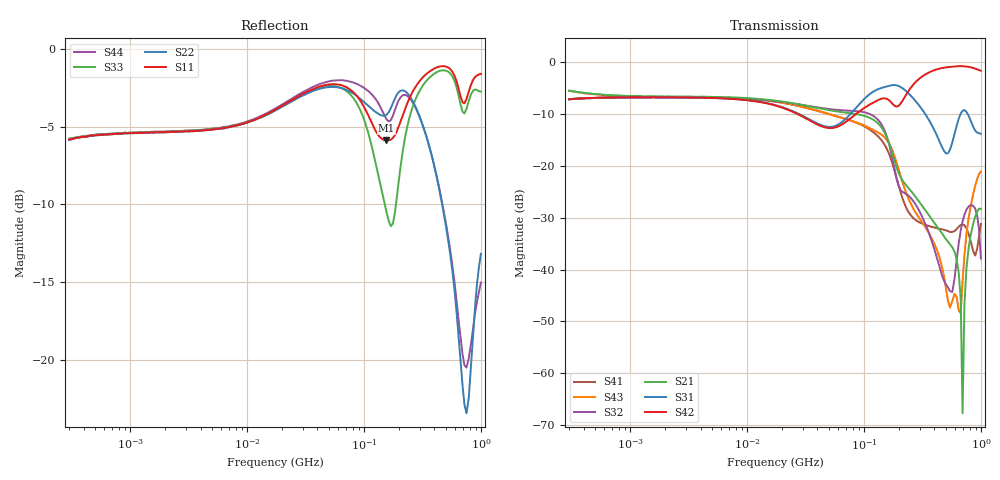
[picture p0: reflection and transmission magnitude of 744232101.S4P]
! This data is being provided by Wuerth Elektronik eiSos GmbH & Co. KG to the industry for analysis.
! Document information:
! Version:rev19a Date: 18/10/2019
! Component information:
! Match Code: IndCNSW P/N: 744232101 Size: 1206
! Disclaimer:  While Würth Elektronik eiSos has made every reasonable effort to ensure the accuracy
! of the information provided, Würth Elektronik eiSos does not guarantee the exemption of error on the
! data collection measurements, nor does Würth Elektronik eiSos guarantee that the information is current.
! Würth Elektronik eiSos reserves the right to make any adjustments at any time without notice.
! Würth Elektronik eiSos expressly disclaims all implied warranties regarding this measurement data collection.
! Note 1  This data measurement is representative according to the product implementation into the fixture.
! Component behavior is sensitive to implementation into the fixture, which includes board
! materials, trace geometry information, connector pin out, layer connection, use of de-embedding
! techniques, etc.
! Note 2 - The fixture was designed specifically to match the 50 Ohm line impedance, as well as the connector impedance,
! in order to accomplish a reliable measurement without reflections in the trace. Any other implementation of the fixture will change the obtained
! measurement performance. The used fixture behavior was de-embedded to accomplish reliable measurement results.
! The test setup consisted of the following:
!  - Agilent VNA E5071C or E5071B
!  - Calibrations are SOLT (short open load thru)
!  - De-embedding of the SMA's or line cards were included
!  - Equipment Settings -
!  - Sampling - 201 points
!  - IF BW  70 kHz
!  - Averaging  Not used
!  Port 1----->|1|  |2| -----> Port 3
!  |  DUT  |
!  Port 2----->|3|  |4| -----> Port 4
!*VNA Port --> |Port in Datasheet|
! |Port in Datasheet| --> VNA Port
! For further information regarding this testing, please contact
! Wuerth Elektronik eiSos
! Contact  Product Management eiSos Hotline
! Email  eisos.pmhotline@we-online.de
# Hz S dB R 50
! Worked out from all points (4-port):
!   201 points, 300 kHz to 1 GHz, reference 50 ohm
!   strongest paths, dB at 300 kHz, 2.299 MHz, 17.55 MHz, 132.6 MHz, 1 GHz:
!     S42: -7.2, -6.8, -8.4, -7.3, -1.6
!     S31: -7.1, -6.8, -8.3, -5.2, -13.8
!     S21: -5.5, -6.6, -7.4, -11.9, -28.3
!     S32: -7.2, -6.8, -7.5, -11.2, -37.9
!     S43: -5.5, -6.7, -7.5, -13.6, -21.1
!     S41: -7.1, -6.8, -7.6, -14.4, -31.2
!   lowest |S11| = -5.9 dB at 155.6 MHz (marker M1), VSWR 3.06, Z = 152 + j8.77 ohm
!   |S11| at or under -10 dB: nowhere
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300000  -5.83 15.5  -5.44 -15.6  -7.12 17.1  -7.15 -162.8
        -5.47 -15.4  -5.86 15.5  -7.17 -163.1  -7.14 17.3
        -7.12 17.3  -7.16 -163.0  -5.80 15.2  -5.54 -15.4
        -7.12 -162.9  -7.16 17.3  -5.51 -15.4  -5.78 15.2
1.556071e8  -5.89 2.4  -14.30 144.8  -4.69 -1.4  -16.56 -60.2
            -14.31 144.8  -4.24 -14.5  -14.11 -45.1  -7.02 21.0
            -4.69 -1.4  -14.09 -45.1  -10.48 -11.0  -14.86 97.3
            -16.55 -60.3  -7.02 21.0  -14.86 97.2  -4.53 -22.6
5.952832e8  -1.73 -10.0  -36.54 64.2  -13.82 14.8  -32.57 102.3
            -36.53 63.9  -15.54 -67.2  -41.74 66.9  -0.81 3.3
            -13.81 14.8  -41.73 67.8  -2.07 -11.8  -44.72 33.2
            -32.60 102.2  -0.81 3.3  -44.69 35.2  -15.05 -60.5
6.718599e8  -3.08 -10.6  -45.59 37.8  -9.91 4.7  -31.35 85.3
            -45.57 37.0  -20.19 -54.9  -32.52 74.5  -0.76 -2.1
            -9.90 4.8  -32.51 74.6  -3.63 -13.5  -49.02 100.9
            -31.40 85.2  -0.76 -2.1  -48.43 99.7  -18.62 -48.8
6.973855e8  -3.44 -7.8  -66.63 25.4  -9.36 -2.7  -31.23 75.6
            -67.74 26.9  -21.70 -45.6  -30.72 68.3  -0.77 -3.8
            -9.35 -2.7  -30.71 68.1  -4.05 -10.6  -42.48 130.9
            -31.26 75.6  -0.77 -3.8  -42.23 128.8  -19.67 -41.2
7.52834e8  -3.24 -1.0  -39.76 -177.7  -9.56 -18.3  -32.00 51.0
           -39.67 -177.5  -23.46 -12.0  -28.41 50.9  -0.83 -7.3
           -9.56 -18.3  -28.43 51.0  -3.86 -3.5  -33.26 125.7
           -32.05 50.9  -0.83 -7.3  -33.14 124.8  -20.51 -16.8
1e9  -1.61 -5.8  -28.27 95.1  -13.84 -20.0  -31.27 -156.8
     -28.31 94.6  -13.19 28.7  -38.11 -63.7  -1.65 -18.7
     -13.82 -20.0  -37.88 -63.2  -2.75 -8.8  -21.08 44.2
     -31.22 -157.9  -1.65 -18.6  -21.10 43.9  -15.04 23.3
